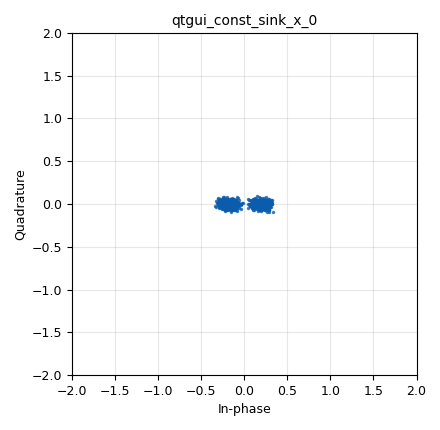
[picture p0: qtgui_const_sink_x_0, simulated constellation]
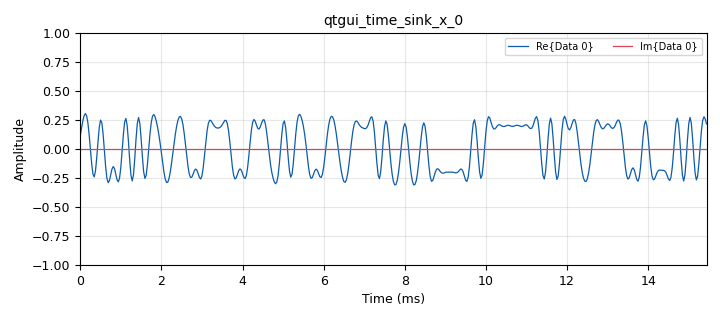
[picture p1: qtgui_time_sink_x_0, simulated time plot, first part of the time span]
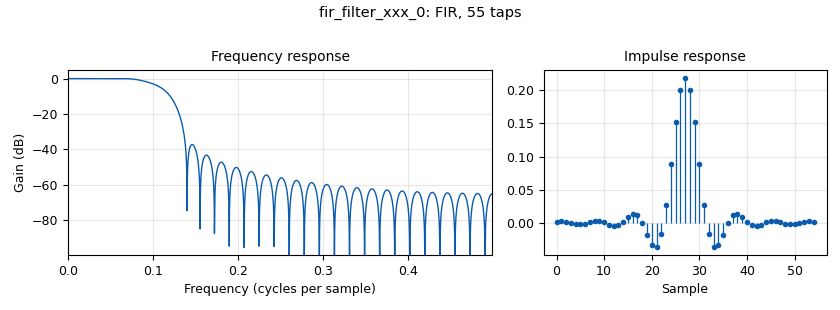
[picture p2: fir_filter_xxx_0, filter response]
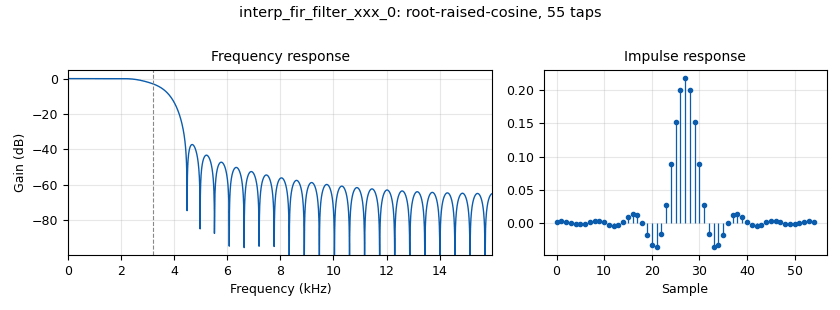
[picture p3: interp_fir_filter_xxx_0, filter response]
options:
  parameters:
    author: p
    generate_options: qt_gui
    id: week5_lecture24
    output_language: python
    title: Not titled yet
  states: {}

blocks:
- name: delay
  id: variable_qtgui_range
  parameters:
    start: '0'
    step: '1'
    stop: '10'
    value: '0'
  states: {}
- name: my_constell
  id: variable_constellation
  parameters:
    precision: '8'
    type: bpsk
  states: {}
- name: rrc_taps
  id: variable_rrc_filter_taps
  parameters:
    alpha: '0.35'
    gain: '1.0'
    ntaps: 11*sps
    samp_rate: samp_rate
    sym_rate: samp_rate // sps
  states: {}
- name: samp_rate
  id: variable
  parameters:
    value: '32000'
  states: {}
- name: sps
  id: variable
  parameters:
    value: '5'
  states: {}
- name: analog_noise_source_x_0
  id: analog_noise_source_x
  parameters:
    amp: '0.1'
    noise_type: analog.GR_GAUSSIAN
    seed: '0'
    type: complex
  states: {}
- name: analog_random_source_x_0
  id: analog_random_source_x
  parameters:
    max: '2'
    min: '0'
    num_samps: '1024'
    repeat: 'True'
    type: byte
  states: {}
- name: blocks_add_xx_0
  id: blocks_add_xx
  parameters:
    type: complex
  states: {}
- name: blocks_delay_0
  id: blocks_delay
  parameters:
    delay: delay
    type: complex
  states: {}
- name: blocks_throttle2_0
  id: blocks_throttle2
  parameters:
    samples_per_second: samp_rate
    type: complex
  states: {}
- name: digital_constellation_encoder_bc_0
  id: digital_constellation_encoder_bc
  parameters:
    constellation: my_constell
  states: {}
- name: fir_filter_xxx_0
  id: fir_filter_xxx
  parameters:
    decim: sps
    taps: rrc_taps[::1]
    type: ccc
  states: {}
- name: interp_fir_filter_xxx_0
  id: interp_fir_filter_xxx
  parameters:
    interp: sps
    taps: rrc_taps
    type: ccc
  states: {}
- name: qtgui_const_sink_x_0
  id: qtgui_const_sink_x
  parameters:
    size: '1024'
    type: complex
  states: {}
- name: qtgui_time_sink_x_0
  id: qtgui_time_sink_x
  parameters:
    size: '1024'
    srate: samp_rate
    type: complex
  states: {}

connections:
- [analog_noise_source_x_0, '0', blocks_add_xx_0, '1']
- [analog_random_source_x_0, '0', digital_constellation_encoder_bc_0, '0']
- [blocks_add_xx_0, '0', blocks_delay_0, '0']
- [blocks_delay_0, '0', fir_filter_xxx_0, '0']
- [blocks_throttle2_0, '0', interp_fir_filter_xxx_0, '0']
- [digital_constellation_encoder_bc_0, '0', blocks_throttle2_0, '0']
- [fir_filter_xxx_0, '0', qtgui_const_sink_x_0, '0']
- [interp_fir_filter_xxx_0, '0', blocks_add_xx_0, '0']
- [interp_fir_filter_xxx_0, '0', qtgui_time_sink_x_0, '0']

metadata:
  file_format: 1
  grc_version: 3.10.7.0
